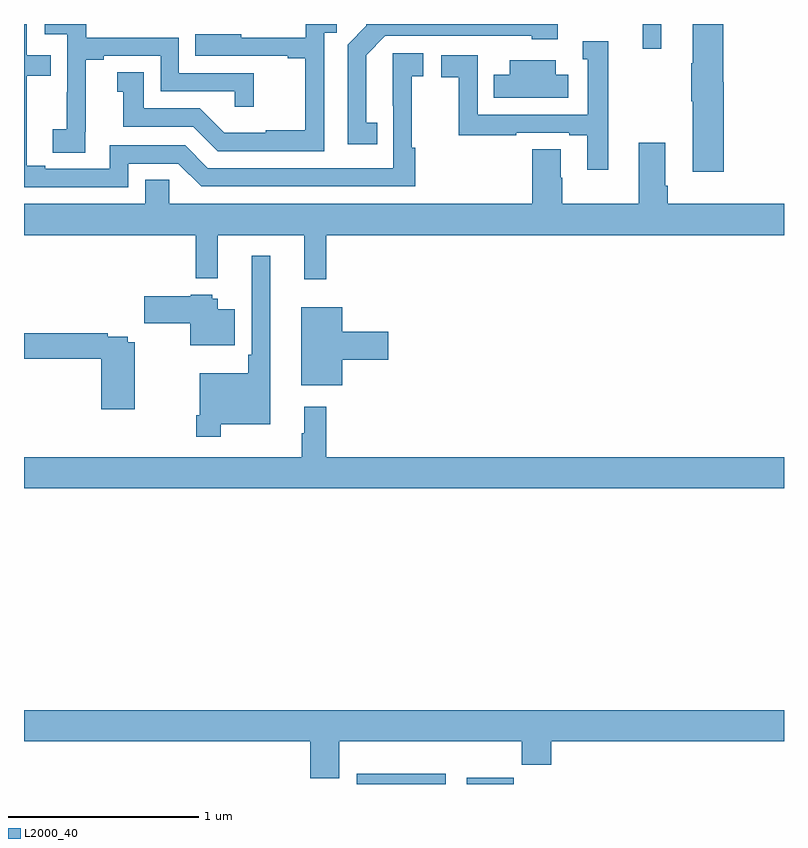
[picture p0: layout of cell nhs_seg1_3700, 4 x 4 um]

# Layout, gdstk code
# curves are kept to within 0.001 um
import gdstk
lib = gdstk.Library(unit=1e-6, precision=1e-09)
def R(c, l, rs):  # rectangles x0, y0, x1, y1
    for r in rs: c.add(gdstk.rectangle(r[:2], r[2:], *l))
def P(c, l, *ps):  # polygons
    for p in ps: c.add(gdstk.Polygon(p, *l))
L2000_40 = (2000, 40)

nhs_seg1_3700 = lib.new_cell('nhs_seg1_3700')
R(nhs_seg1_3700, L2000_40, [(314.75,526.199,315.22,526.252), (315.329,526.199,315.578,526.231), (316.257,530.07,316.354,530.199)])
P(nhs_seg1_3700, L2000_40, [(314.58,530.153),(314.645,530.153),(314.645,530.199),(314.484,530.199),(314.484,530.127),(314.143,530.127),(314.143,530.146),(313.9,530.146),(313.9,530.031),(314.387,530.031),(314.387,530.019),(314.479,530.019),(314.479,529.639),(314.273,529.639),(314.273,529.627),(314.054,529.627),(313.926,529.755),(313.63,529.755),(313.63,529.946),(313.49,529.946),(313.49,529.843),(313.523,529.843),(313.523,529.659),(313.89,529.659),(314.019,529.53),(314.58,529.53)],
  [(316.684,529.893),(316.679,529.893),(316.679,530.199),(316.52,530.199),(316.52,529.993),(316.513,529.993),(316.513,529.793),(316.52,529.793),(316.52,529.422),(316.684,529.422)],
  [(313.322,529.633),(313.324,529.633),(313.324,530.011),(313.42,530.011),(313.42,530.031),(313.719,530.031),(313.719,529.845),(314.109,529.845),(314.109,529.764),(314.21,529.764),(314.21,529.941),(313.815,529.941),(313.815,530.127),(313.328,530.127),(313.328,530.199),(313.11,530.199),(313.11,530.145),(313.227,530.145),(313.227,529.841),(313.226,529.841),(313.226,529.644),(313.152,529.644),(313.152,529.522),(313.322,529.522)],
  [(314.858,529.679),(314.8,529.679),(314.8,530.035),(314.901,530.136),(315.672,530.136),(315.672,530.12),(315.808,530.12),(315.808,530.199),(314.802,530.199),(314.802,530.189),(314.703,530.09),(314.703,529.566),(314.858,529.566)],
  [(313.548,529.464),(313.812,529.464),(313.932,529.344),(315.059,529.344),(315.059,529.547),(315.042,529.547),(315.042,529.923),(315.1,529.923),(315.1,530.044),(314.942,530.044),(314.943,529.44),(313.968,529.44),(313.848,529.56),(313.452,529.56),(313.452,529.437),(313.111,529.437),(313.111,529.452),(313.015,529.452),(313.015,529.926),(313.142,529.926),(313.142,530.034),(313.014,530.034),(313.014,530.199),(313,530.199),(313,529.341),(313.548,529.341)],
  [(316.075,530.107),(315.941,530.107),(315.941,530.013),(315.966,530.013),(315.966,529.722),(315.387,529.722),(315.387,530.034),(315.195,530.034),(315.195,529.918),(315.289,529.918),(315.289,529.614),(315.59,529.614),(315.59,529.626),(315.869,529.626),(315.869,529.614),(315.965,529.614),(315.965,529.431),(316.075,529.431)],
  [(315.865,529.933),(315.799,529.933),(315.799,530.008),(315.557,530.008),(315.557,529.933),(315.472,529.933),(315.472,529.811),(315.865,529.811)],
  [(314.591,529.088),(317,529.088),(317,529.252),(316.388,529.252),(316.388,529.348),(316.375,529.348),(316.375,529.573),(316.235,529.573),(316.235,529.252),(315.834,529.252),(315.834,529.391),(315.826,529.391),(315.826,529.541),(315.674,529.541),(315.674,529.252),(313.764,529.252),(313.764,529.379),(313.637,529.379),(313.637,529.252),(313,529.252),(313,529.088),(313.903,529.088),(313.903,528.86),(314.021,528.86),(314.021,529.088),(314.474,529.088),(314.474,528.855),(314.591,528.855)],
  [(314.035,528.092),(314.296,528.092),(314.296,528.979),(314.199,528.979),(314.199,528.457),(314.179,528.457),(314.179,528.361),(313.926,528.361),(313.926,528.139),(313.906,528.139),(313.906,528.027),(314.035,528.027)],
  [(314.11,528.697),(314.02,528.697),(314.02,528.753),(313.992,528.753),(313.992,528.775),(313.878,528.775),(313.878,528.765),(313.632,528.765),(313.632,528.623),(313.874,528.623),(313.874,528.509),(314.11,528.509)],
  [(314.674,528.431),(314.917,528.431),(314.917,528.578),(314.674,528.578),(314.674,528.709),(314.459,528.709),(314.459,528.299),(314.674,528.299)],
  [(313.584,528.523),(313.546,528.523),(313.546,528.552),(313.442,528.552),(313.442,528.572),(313,528.572),(313,528.436),(313.406,528.436),(313.406,528.171),(313.584,528.171)],
  [(317,527.92),(314.591,527.92),(314.591,528.184),(314.474,528.184),(314.474,528.044),(314.463,528.044),(314.463,527.92),(313,527.92),(313,527.756),(317,527.756)],
  [(314.659,526.424),(315.619,526.424),(315.619,526.3),(315.776,526.3),(315.776,526.424),(317,526.424),(317,526.588),(313,526.588),(313,526.424),(314.507,526.424),(314.507,526.23),(314.659,526.23)])

lib.write_gds('nhs_seg1_3700.gds')
